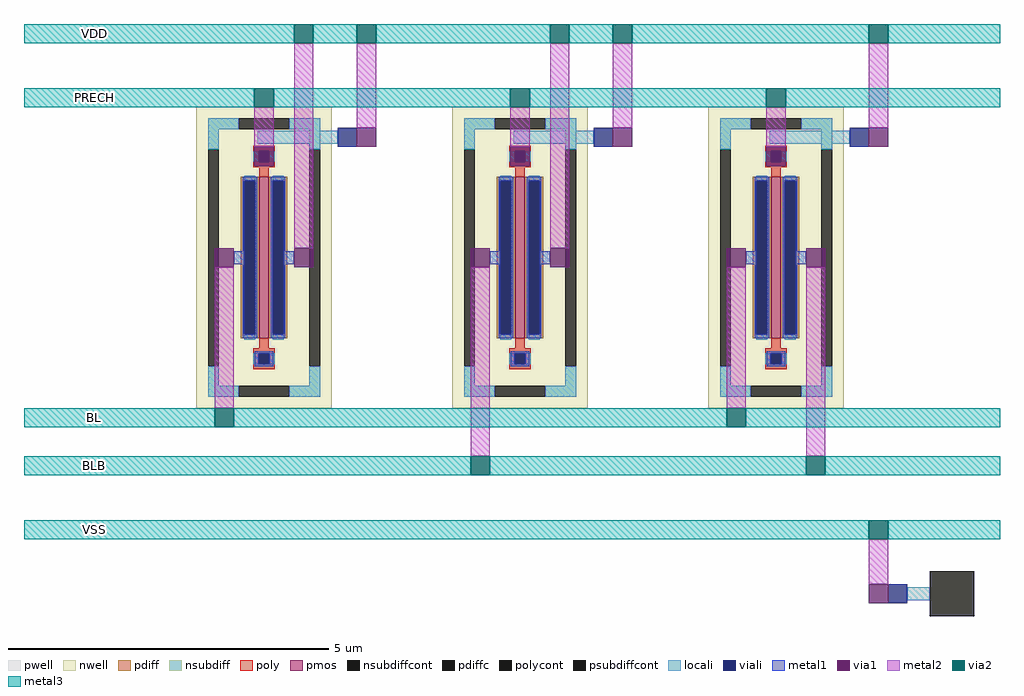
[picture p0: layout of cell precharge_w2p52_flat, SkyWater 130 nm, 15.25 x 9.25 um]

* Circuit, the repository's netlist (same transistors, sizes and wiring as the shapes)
* NGSPICE file created from precharge_w2p52_flat.ext - technology: sky130A

.subckt precharge_w2p52_flat VDD BL BLB PRECH VSS
X0 BLB PRECH BL VDD sky130_fd_pr__pfet_01v8 ad=0.7308 pd=5.62 as=0.7308 ps=5.62 w=2.52 l=0.15
X1 VDD PRECH BL VDD sky130_fd_pr__pfet_01v8 ad=0.7308 pd=5.62 as=0.7308 ps=5.62 w=2.52 l=0.15
X2 VDD PRECH BLB VDD sky130_fd_pr__pfet_01v8 ad=0.7308 pd=5.62 as=0.7308 ps=5.62 w=2.52 l=0.15
.ends

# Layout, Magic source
magic
tech sky130A
magscale 1 2
<< nwell >>
rect 89 -1471 511 -529
rect 889 -1471 1311 -529
rect 1689 -1471 2111 -529
<< pwell >>
rect 2380 -2120 2520 -1980
<< pmos >>
rect 285 -1252 315 -748
rect 1085 -1252 1115 -748
rect 1885 -1252 1915 -748
<< pdiff >>
rect 227 -760 285 -748
rect 227 -1240 239 -760
rect 273 -1240 285 -760
rect 227 -1252 285 -1240
rect 315 -760 373 -748
rect 315 -1240 327 -760
rect 361 -1240 373 -760
rect 315 -1252 373 -1240
rect 1027 -760 1085 -748
rect 1027 -1240 1039 -760
rect 1073 -1240 1085 -760
rect 1027 -1252 1085 -1240
rect 1115 -760 1173 -748
rect 1115 -1240 1127 -760
rect 1161 -1240 1173 -760
rect 1115 -1252 1173 -1240
rect 1827 -760 1885 -748
rect 1827 -1240 1839 -760
rect 1873 -1240 1885 -760
rect 1827 -1252 1885 -1240
rect 1915 -760 1973 -748
rect 1915 -1240 1927 -760
rect 1961 -1240 1973 -760
rect 1915 -1252 1973 -1240
<< pdiffc >>
rect 239 -1240 273 -760
rect 327 -1240 361 -760
rect 1039 -1240 1073 -760
rect 1127 -1240 1161 -760
rect 1839 -1240 1873 -760
rect 1927 -1240 1961 -760
<< nsubdiff >>
rect 125 -599 221 -565
rect 379 -599 475 -565
rect 125 -661 159 -599
rect 441 -661 475 -599
rect 125 -1401 159 -1339
rect 441 -1401 475 -1339
rect 125 -1435 221 -1401
rect 379 -1435 475 -1401
rect 925 -599 1021 -565
rect 1179 -599 1275 -565
rect 925 -661 959 -599
rect 1241 -661 1275 -599
rect 925 -1401 959 -1339
rect 1241 -1401 1275 -1339
rect 925 -1435 1021 -1401
rect 1179 -1435 1275 -1401
rect 1725 -599 1821 -565
rect 1979 -599 2075 -565
rect 1725 -661 1759 -599
rect 2041 -661 2075 -599
rect 1725 -1401 1759 -1339
rect 2041 -1401 2075 -1339
rect 1725 -1435 1821 -1401
rect 1979 -1435 2075 -1401
<< psubdiffcont >>
rect 2380 -2120 2520 -1980
<< nsubdiffcont >>
rect 221 -599 379 -565
rect 125 -1339 159 -661
rect 441 -1339 475 -661
rect 221 -1435 379 -1401
rect 1021 -599 1179 -565
rect 925 -1339 959 -661
rect 1241 -1339 1275 -661
rect 1021 -1435 1179 -1401
rect 1821 -599 1979 -565
rect 1725 -1339 1759 -661
rect 2041 -1339 2075 -661
rect 1821 -1435 1979 -1401
<< poly >>
rect 267 -667 333 -651
rect 267 -701 283 -667
rect 317 -701 333 -667
rect 267 -717 333 -701
rect 285 -748 315 -717
rect 285 -1283 315 -1252
rect 267 -1299 333 -1283
rect 267 -1333 283 -1299
rect 317 -1333 333 -1299
rect 267 -1349 333 -1333
rect 1067 -667 1133 -651
rect 1067 -701 1083 -667
rect 1117 -701 1133 -667
rect 1067 -717 1133 -701
rect 1085 -748 1115 -717
rect 1085 -1283 1115 -1252
rect 1067 -1299 1133 -1283
rect 1067 -1333 1083 -1299
rect 1117 -1333 1133 -1299
rect 1067 -1349 1133 -1333
rect 1867 -667 1933 -651
rect 1867 -701 1883 -667
rect 1917 -701 1933 -667
rect 1867 -717 1933 -701
rect 1885 -748 1915 -717
rect 1885 -1283 1915 -1252
rect 1867 -1299 1933 -1283
rect 1867 -1333 1883 -1299
rect 1917 -1333 1933 -1299
rect 1867 -1349 1933 -1333
<< polycont >>
rect 283 -701 317 -667
rect 283 -1333 317 -1299
rect 1083 -701 1117 -667
rect 1083 -1333 1117 -1299
rect 1883 -701 1917 -667
rect 1883 -1333 1917 -1299
<< locali >>
rect 125 -599 221 -565
rect 379 -599 475 -565
rect 125 -661 159 -599
rect 441 -604 475 -599
rect 280 -644 530 -604
rect 441 -661 475 -644
rect 925 -599 1021 -565
rect 1179 -599 1275 -565
rect 267 -701 283 -667
rect 317 -701 333 -667
rect 239 -760 273 -744
rect 239 -1256 273 -1240
rect 327 -760 361 -744
rect 327 -1256 361 -1240
rect 267 -1333 283 -1299
rect 317 -1333 333 -1299
rect 125 -1401 159 -1339
rect 441 -1401 475 -1339
rect 125 -1435 221 -1401
rect 379 -1435 475 -1401
rect 925 -661 959 -599
rect 1241 -604 1275 -599
rect 1080 -644 1330 -604
rect 1241 -661 1275 -644
rect 1725 -599 1821 -565
rect 1979 -599 2075 -565
rect 1067 -701 1083 -667
rect 1117 -701 1133 -667
rect 1039 -760 1073 -744
rect 1039 -1256 1073 -1240
rect 1127 -760 1161 -744
rect 1127 -1256 1161 -1240
rect 1067 -1333 1083 -1299
rect 1117 -1333 1133 -1299
rect 925 -1401 959 -1339
rect 1241 -1401 1275 -1339
rect 925 -1435 1021 -1401
rect 1179 -1435 1275 -1401
rect 1725 -661 1759 -599
rect 2041 -604 2075 -599
rect 1880 -644 2130 -604
rect 2041 -661 2075 -644
rect 1867 -701 1883 -667
rect 1917 -701 1933 -667
rect 1839 -760 1873 -744
rect 1839 -1256 1873 -1240
rect 1927 -760 1961 -744
rect 1927 -1256 1961 -1240
rect 1867 -1333 1883 -1299
rect 1917 -1333 1933 -1299
rect 1725 -1401 1759 -1339
rect 2041 -1401 2075 -1339
rect 1725 -1435 1821 -1401
rect 1979 -1435 2075 -1401
rect 2310 -2070 2380 -2030
<< viali >>
rect 530 -654 590 -594
rect 283 -701 317 -667
rect 239 -1240 273 -760
rect 327 -1240 361 -760
rect 283 -1333 317 -1299
rect 1330 -654 1390 -594
rect 1083 -701 1117 -667
rect 1039 -1240 1073 -760
rect 1127 -1240 1161 -760
rect 1083 -1333 1117 -1299
rect 2130 -654 2190 -594
rect 1883 -701 1917 -667
rect 1839 -1240 1873 -760
rect 1927 -1240 1961 -760
rect 1883 -1333 1917 -1299
rect 2250 -2080 2310 -2020
<< metal1 >>
rect 233 -760 279 -748
rect 233 -980 239 -760
rect 206 -1020 239 -980
rect 233 -1240 239 -1020
rect 273 -1240 279 -760
rect 233 -1252 279 -1240
rect 321 -760 367 -748
rect 321 -1240 327 -760
rect 361 -980 367 -760
rect 1033 -760 1079 -748
rect 361 -1020 394 -980
rect 361 -1240 367 -1020
rect 1033 -980 1039 -760
rect 1006 -1020 1039 -980
rect 321 -1252 367 -1240
rect 1033 -1240 1039 -1020
rect 1073 -1240 1079 -760
rect 1033 -1252 1079 -1240
rect 1121 -760 1167 -748
rect 1121 -1240 1127 -760
rect 1161 -980 1167 -760
rect 1833 -760 1879 -748
rect 1161 -1020 1194 -980
rect 1161 -1240 1167 -1020
rect 1833 -980 1839 -760
rect 1806 -1020 1839 -980
rect 1121 -1252 1167 -1240
rect 1833 -1240 1839 -1020
rect 1873 -1240 1879 -760
rect 1833 -1252 1879 -1240
rect 1921 -760 1967 -748
rect 1921 -1240 1927 -760
rect 1961 -980 1967 -760
rect 1961 -1020 1994 -980
rect 1961 -1240 1967 -1020
rect 1921 -1252 1967 -1240
rect 271 -1299 329 -1293
rect 271 -1333 283 -1299
rect 317 -1333 329 -1299
rect 271 -1339 329 -1333
rect 1071 -1299 1129 -1293
rect 1071 -1333 1083 -1299
rect 1117 -1333 1129 -1299
rect 1071 -1339 1129 -1333
rect 1871 -1299 1929 -1293
rect 1871 -1333 1883 -1299
rect 1917 -1333 1929 -1299
rect 1871 -1339 1929 -1333
<< via1 >>
rect 590 -654 650 -594
rect 1390 -654 1450 -594
rect 2190 -654 2250 -594
rect 270 -667 330 -654
rect 270 -701 283 -667
rect 283 -701 317 -667
rect 317 -701 330 -667
rect 270 -714 330 -701
rect 1070 -667 1130 -654
rect 1070 -701 1083 -667
rect 1083 -701 1117 -667
rect 1117 -701 1130 -667
rect 1070 -714 1130 -701
rect 1870 -667 1930 -654
rect 1870 -701 1883 -667
rect 1883 -701 1917 -667
rect 1917 -701 1930 -667
rect 1870 -714 1930 -701
rect 146 -1030 206 -970
rect 394 -1030 454 -970
rect 946 -1030 1006 -970
rect 1194 -1030 1254 -970
rect 1746 -1030 1806 -970
rect 1994 -1030 2054 -970
rect 2190 -2080 2250 -2020
<< metal2 >>
rect 270 -654 330 -530
rect 394 -970 454 -330
rect 590 -594 650 -330
rect 1070 -654 1130 -530
rect 1194 -970 1254 -330
rect 1390 -594 1450 -330
rect 1870 -654 1930 -530
rect 2190 -594 2250 -330
rect 146 -1470 206 -1030
rect 946 -1620 1006 -1030
rect 1746 -1470 1806 -1030
rect 1994 -1620 2054 -1030
rect 2190 -2020 2250 -1880
<< via2 >>
rect 394 -330 454 -270
rect 270 -530 330 -470
rect 590 -330 650 -270
rect 1194 -330 1254 -270
rect 1070 -530 1130 -470
rect 1390 -330 1450 -270
rect 2190 -330 2250 -270
rect 1870 -530 1930 -470
rect 146 -1530 206 -1470
rect 1746 -1530 1806 -1470
rect 946 -1680 1006 -1620
rect 1994 -1680 2054 -1620
rect 2190 -1880 2250 -1820
<< metal3 >>
rect -450 -330 394 -270
rect 454 -330 590 -270
rect 650 -330 1194 -270
rect 1254 -330 1390 -270
rect 1450 -330 2190 -270
rect 2250 -330 2600 -270
rect -450 -530 270 -470
rect 330 -530 1070 -470
rect 1130 -530 1870 -470
rect 1930 -530 2600 -470
rect -450 -1530 146 -1470
rect 206 -1530 1746 -1470
rect 1806 -1530 2600 -1470
rect -450 -1680 946 -1620
rect 1006 -1680 1994 -1620
rect 2054 -1680 2600 -1620
rect -450 -1880 2190 -1820
rect 2250 -1880 2600 -1820
<< labels >>
rlabel metal3 -255 -325 -205 -275 0 VDD
port 0 n
rlabel metal3 -255 -1525 -205 -1475 0 BL
port 1 n
rlabel metal3 -255 -1675 -205 -1625 0 BLB
port 2 n
rlabel metal3 -255 -525 -205 -475 0 PRECH
port 3 n
rlabel metal3 -255 -1875 -205 -1825 0 VSS
port 4 n
<< end >>
